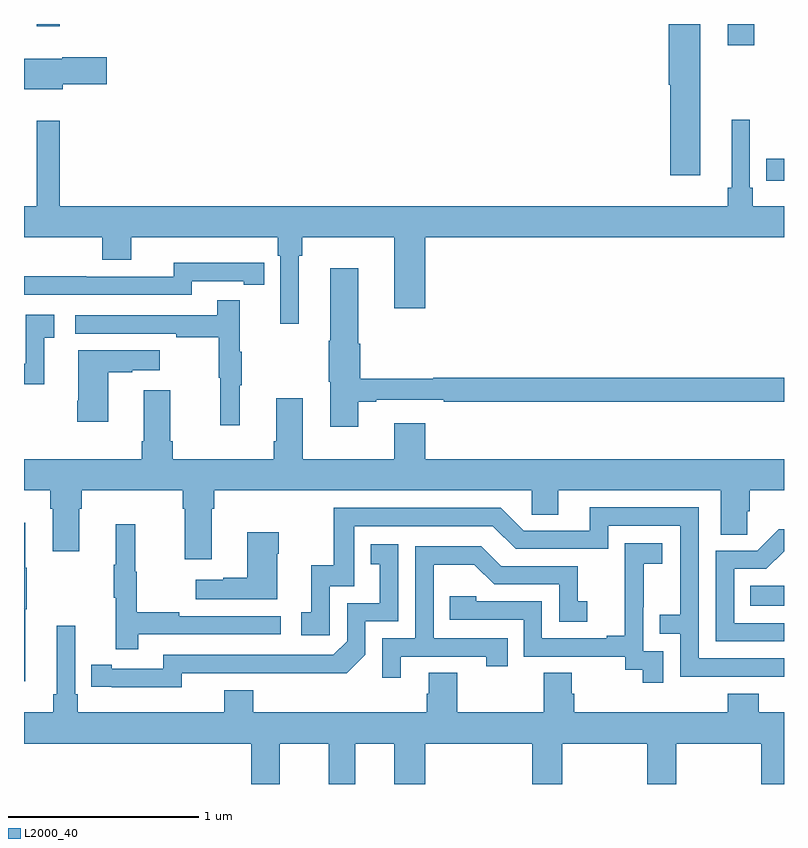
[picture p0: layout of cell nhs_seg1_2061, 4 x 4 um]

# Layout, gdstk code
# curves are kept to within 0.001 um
import gdstk
lib = gdstk.Library(unit=1e-6, precision=1e-09)
def R(c, l, rs):  # rectangles x0, y0, x1, y1
    for r in rs: c.add(gdstk.rectangle(r[:2], r[2:], *l))
def P(c, l, *ps):  # polygons
    for p in ps: c.add(gdstk.Polygon(p, *l))
L2000_40 = (2000, 40)

nhs_seg1_2061 = lib.new_cell('nhs_seg1_2061')
R(nhs_seg1_2061, L2000_40, [(226.822,539.138,227,539.242), (226.906,541.374,227,541.49), (226.703,542.088,226.843,542.199), (223.067,542.187,223.189,542.199)])
P(nhs_seg1_2061, L2000_40, [(226.558,542.199),(226.394,542.199),(226.394,541.878),(226.4,541.878),(226.4,541.404),(226.558,541.404)],
  [(223.204,541.883),(223.435,541.883),(223.435,542.025),(223.2,542.025),(223.2,542.017),(223,542.017),(223,541.856),(223.204,541.856)],
  [(224.446,540.98),(224.465,540.98),(224.465,541.076),(224.948,541.076),(224.948,540.702),(225.112,540.702),(225.112,541.076),(227,541.076),(227,541.24),(226.835,541.24),(226.835,541.336),(226.821,541.336),(226.821,541.696),(226.724,541.696),(226.724,541.336),(226.705,541.336),(226.705,541.24),(223.189,541.24),(223.189,541.69),(223.067,541.69),(223.067,541.24),(223,541.24),(223,541.076),(223.412,541.076),(223.412,540.959),(223.564,540.959),(223.564,541.076),(224.336,541.076),(224.336,540.98),(224.349,540.98),(224.349,540.621),(224.446,540.621)],
  [(223.884,540.846),(224.156,540.846),(224.156,540.826),(224.264,540.826),(224.264,540.942),(224.156,540.942),(224.156,540.943),(223.788,540.943),(223.788,540.87),(223.328,540.87),(223.328,540.872),(223,540.872),(223,540.774),(223.884,540.774)],
  [(224.758,540.21),(224.854,540.21),(224.854,540.222),(225.208,540.222),(225.208,540.21),(227,540.21),(227,540.338),(225.154,540.338),(225.154,540.331),(224.771,540.331),(224.771,540.515),(224.758,540.515),(224.758,540.913),(224.612,540.913),(224.612,540.533),(224.605,540.533),(224.605,540.315),(224.612,540.315),(224.612,540.078),(224.758,540.078)],
  [(224.135,540.299),(224.146,540.299),(224.146,540.473),(224.135,540.473),(224.135,540.745),(224.017,540.745),(224.017,540.666),(223.269,540.666),(223.269,540.57),(223.801,540.57),(223.801,540.55),(224.025,540.55),(224.025,540.336),(224.032,540.336),(224.032,540.087),(224.135,540.087)],
  [(223.106,540.549),(223.159,540.549),(223.159,540.67),(223.008,540.67),(223.008,540.411),(223,540.411),(223,540.303),(223.106,540.303)],
  [(223.444,540.367),(223.571,540.367),(223.571,540.377),(223.714,540.377),(223.714,540.481),(223.286,540.481),(223.286,540.217),(223.279,540.217),(223.279,540.105),(223.444,540.105)],
  [(223.987,539.648),(224,539.648),(224,539.744),(225.672,539.744),(225.672,539.617),(225.811,539.617),(225.811,539.744),(226.667,539.744),(226.667,539.512),(226.806,539.512),(226.806,539.635),(226.82,539.635),(226.82,539.744),(227,539.744),(227,539.908),(225.112,539.908),(225.112,540.097),(224.948,540.097),(224.948,539.908),(224.467,539.908),(224.467,540.229),(224.327,540.229),(224.327,540.004),(224.315,540.004),(224.315,539.908),(223.784,539.908),(223.784,540.004),(223.771,540.004),(223.771,540.271),(223.631,540.271),(223.631,540.004),(223.619,540.004),(223.619,539.908),(223,539.908),(223,539.744),(223.139,539.744),(223.139,539.648),(223.151,539.648),(223.151,539.424),(223.291,539.424),(223.291,539.648),(223.304,539.648),(223.304,539.744),(223.835,539.744),(223.835,539.648),(223.847,539.648),(223.847,539.382),(223.987,539.382)],
  [(227,538.86),(226.551,538.86),(226.551,539.655),(225.977,539.655),(225.977,539.532),(225.63,539.532),(225.51,539.652),(224.631,539.652),(224.631,539.35),(224.513,539.35),(224.513,539.103),(224.46,539.103),(224.46,538.983),(224.61,538.983),(224.61,539.241),(224.739,539.241),(224.739,539.556),(225.468,539.556),(225.588,539.436),(226.074,539.436),(226.074,539.559),(226.455,539.559),(226.455,539.09),(226.345,539.09),(226.345,538.989),(226.455,538.989),(226.455,538.764),(227,538.763)],
  [(223.006,539.119),(223.014,539.119),(223.014,539.336),(223.006,539.336),(223.006,539.575),(223,539.575),(223,538.74),(223.006,538.74)],
  [(223.601,538.986),(224.35,538.986),(224.35,539.082),(223.817,539.082),(223.817,539.102),(223.594,539.102),(223.594,539.316),(223.586,539.316),(223.586,539.566),(223.484,539.566),(223.484,539.353),(223.473,539.353),(223.473,539.179),(223.484,539.179),(223.484,538.908),(223.601,538.908)],
  [(227,539.046),(226.737,539.046),(226.737,539.331),(226.906,539.331),(227,539.425),(227,539.54),(226.973,539.54),(226.86,539.427),(226.641,539.427),(226.641,538.95),(227,538.95)],
  [(224.332,539.411),(224.34,539.411),(224.34,539.524),(224.174,539.524),(224.174,539.285),(224.048,539.285),(224.048,539.275),(223.905,539.275),(223.905,539.171),(224.332,539.171)],
  [(226.365,538.899),(226.26,538.899),(226.26,539.129),(226.262,539.129),(226.262,539.357),(226.36,539.357),(226.36,539.467),(226.162,539.467),(226.162,539.261),(226.163,539.261),(226.163,538.978),(226.067,538.978),(226.067,538.965),(225.726,538.965),(225.726,539.16),(225.381,539.16),(225.381,539.187),(225.241,539.187),(225.241,539.064),(225.63,539.064),(225.63,538.869),(226.164,538.869),(226.164,538.801),(226.257,538.801),(226.257,538.731),(226.365,538.731)],
  [(223.83,538.782),(224.698,538.781),(224.796,538.878),(224.796,539.055),(224.97,539.055),(224.97,539.461),(224.824,539.461),(224.824,539.355),(224.873,539.355),(224.873,539.151),(224.7,539.151),(224.7,538.95),(224.628,538.878),(223.734,538.878),(223.734,538.806),(223.462,538.806),(223.462,538.826),(223.354,538.826),(223.354,538.71),(223.83,538.709)],
  [(224.983,538.869),(225.434,538.869),(225.434,538.818),(225.545,538.818),(225.545,538.965),(225.156,538.965),(225.156,539.354),(225.37,539.354),(225.474,539.25),(225.816,539.25),(225.816,539.052),(225.964,539.052),(225.964,539.161),(225.915,539.161),(225.915,539.346),(225.511,539.346),(225.406,539.451),(225.06,539.451),(225.06,538.965),(224.886,538.965),(224.886,538.758),(224.983,538.758)],
  [(224.347,538.412),(224.603,538.412),(224.603,538.199),(224.743,538.199),(224.743,538.412),(224.948,538.412),(224.948,538.199),(225.112,538.199),(225.112,538.412),(225.674,538.412),(225.674,538.199),(225.834,538.199),(225.834,538.412),(226.279,538.412),(226.279,538.199),(226.434,538.199),(226.434,538.412),(226.879,538.412),(226.879,538.199),(227,538.199),(227,538.576),(226.868,538.576),(226.868,538.675),(226.703,538.675),(226.703,538.576),(225.896,538.576),(225.896,538.674),(225.883,538.674),(225.883,538.784),(225.736,538.784),(225.736,538.576),(225.279,538.576),(225.279,538.784),(225.131,538.784),(225.131,538.674),(225.119,538.674),(225.119,538.576),(224.207,538.576),(224.207,538.693),(224.054,538.693),(224.054,538.576),(223.283,538.576),(223.283,538.672),(223.269,538.672),(223.269,539.032),(223.172,539.032),(223.172,538.672),(223.153,538.672),(223.153,538.576),(223,538.576),(223,538.412),(224.195,538.412),(224.195,538.199),(224.347,538.199)])

lib.write_gds('nhs_seg1_2061.gds')
